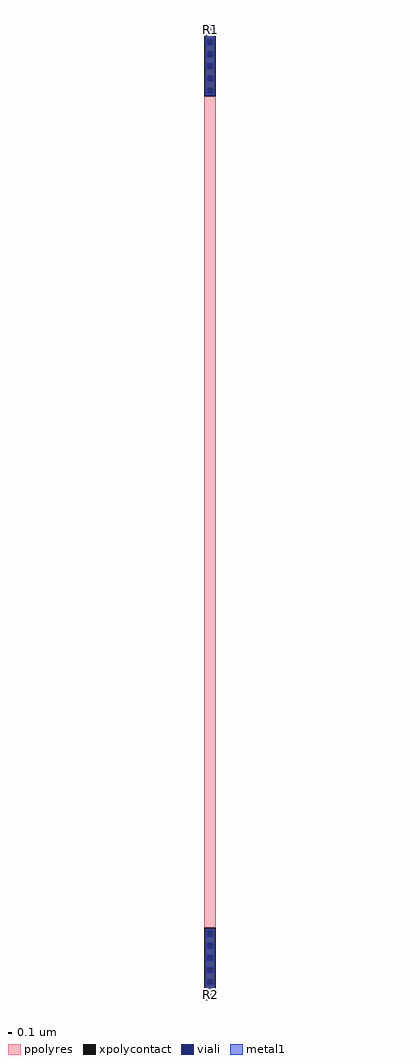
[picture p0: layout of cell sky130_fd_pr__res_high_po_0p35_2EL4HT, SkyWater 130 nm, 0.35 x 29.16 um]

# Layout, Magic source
magic
tech sky130A
magscale 1 2
<< xpolycontact >>
rect -35 2484 35 2916
rect -35 -2916 35 -2484
<< ppolyres >>
rect -35 -2484 35 2484
<< viali >>
rect -17 2862 17 2896
rect -17 2790 17 2824
rect -17 2718 17 2752
rect -17 2646 17 2680
rect -17 2574 17 2608
rect -17 2502 17 2536
rect -17 -2537 17 -2503
rect -17 -2609 17 -2575
rect -17 -2681 17 -2647
rect -17 -2753 17 -2719
rect -17 -2825 17 -2791
rect -17 -2897 17 -2863
<< metal1 >>
rect -25 2896 25 2910
rect -25 2862 -17 2896
rect 17 2862 25 2896
rect -25 2824 25 2862
rect -25 2790 -17 2824
rect 17 2790 25 2824
rect -25 2752 25 2790
rect -25 2718 -17 2752
rect 17 2718 25 2752
rect -25 2680 25 2718
rect -25 2646 -17 2680
rect 17 2646 25 2680
rect -25 2608 25 2646
rect -25 2574 -17 2608
rect 17 2574 25 2608
rect -25 2536 25 2574
rect -25 2502 -17 2536
rect 17 2502 25 2536
rect -25 2489 25 2502
rect -25 -2503 25 -2489
rect -25 -2537 -17 -2503
rect 17 -2537 25 -2503
rect -25 -2575 25 -2537
rect -25 -2609 -17 -2575
rect 17 -2609 25 -2575
rect -25 -2647 25 -2609
rect -25 -2681 -17 -2647
rect 17 -2681 25 -2647
rect -25 -2719 25 -2681
rect -25 -2753 -17 -2719
rect 17 -2753 25 -2719
rect -25 -2791 25 -2753
rect -25 -2825 -17 -2791
rect 17 -2825 25 -2791
rect -25 -2863 25 -2825
rect -25 -2897 -17 -2863
rect 17 -2897 25 -2863
rect -25 -2910 25 -2897
<< labels >>
rlabel locali s 0 2881 0 2881 4 R1
rlabel locali s 0 -2881 0 -2881 4 R2
<< properties >>
string FIXED_BBOX -148 -3029 148 3029
<< end >>
